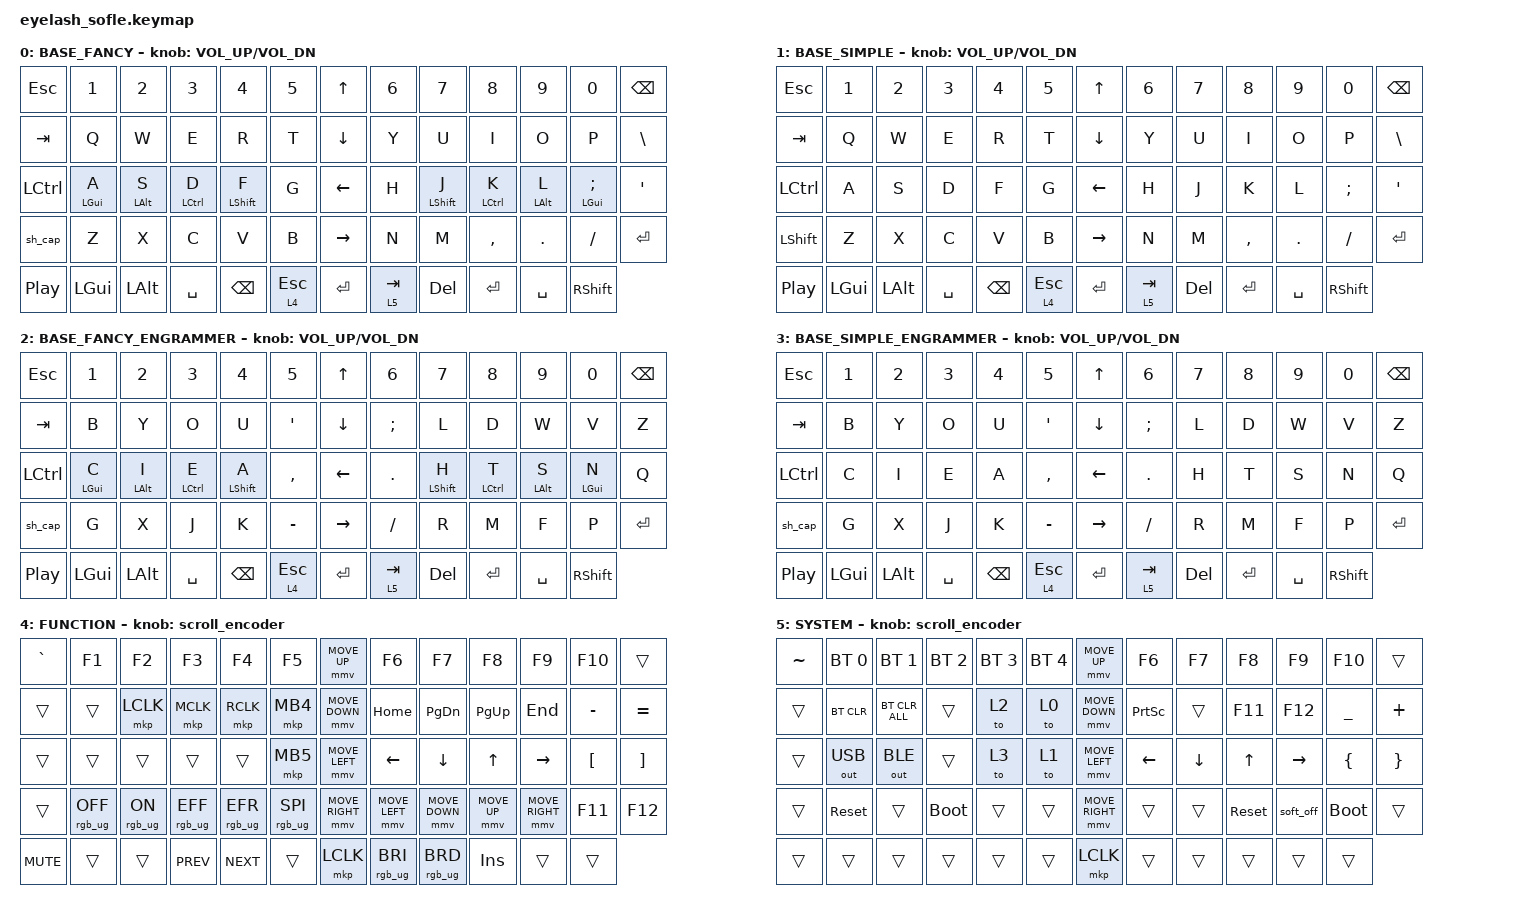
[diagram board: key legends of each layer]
#define ZMK_POINTING_DEFAULT_MOVE_VAL 800  // 600
#define ZMK_POINTING_DEFAULT_SCRL_VAL 20    // 10

#include <input/processors.dtsi>
#include <behaviors.dtsi>
#include <dt-bindings/zmk/bt.h>
#include <dt-bindings/zmk/keys.h>
#include <dt-bindings/zmk/outputs.h>
#include <dt-bindings/zmk/pointing.h>
#include <dt-bindings/zmk/ext_power.h>
#include <dt-bindings/zmk/rgb.h>
#include <zephyr/dt-bindings/input/input-event-codes.h>

/ {
  zip_scroll_scaler: zip_scroll_scaler {
    compatible = "zmk,input-processor-scaler";
    #input-processor-cells = <2>;
    type = <INPUT_EV_REL>;
    codes = <INPUT_REL_WHEEL INPUT_REL_HWHEEL>;
    track-remainders;
  };
};

&mmv_input_listener {
       input-processors = <&zip_xy_scaler 2 1>;
};

&msc_input_listener {
       input-processors = <&zip_scroll_scaler 2 1>;
};

&msc {
    acceleration-exponent = <0>;      // 0
    time-to-max-speed-ms = <300>;       // 300
    delay-ms = <0>;                   // 0
};

&mmv {
    time-to-max-speed-ms = <1500>;
    acceleration-exponent = <1>;
    trigger-period-ms = <16>;
};


/ {
    combos {
        compatible = "zmk,combos";
        combo_left_square {
            timeout-ms = <17>;
            key-positions = <16 17>;
            bindings = <&kp LEFT_BRACKET>;
            layers = <0 2>;
            require-prior-idle-ms = <20>;
        };
        combo_right_square {
            timeout-ms = <17>;
            key-positions = <21 22>;
            bindings = <&kp RIGHT_BRACKET>;
            layers = <0 2>;
            require-prior-idle-ms = <20>;
        };

        combo_left_squirly {
            timeout-ms = <17>;
            key-positions = <42 43>;
            bindings = <&kp LEFT_BRACE>;
            layers = <0 2>;
            require-prior-idle-ms = <20>;
        };
        combo_right_squirly {
            timeout-ms = <17>;
            key-positions = <47 48>;
            bindings = <&kp RIGHT_BRACE>;
            layers = <0 2>;
            require-prior-idle-ms = <20>;
        };

        combo_equals {
            timeout-ms = <17>;
            key-positions = <15 16>;
            bindings = <&kp EQUAL>;
            layers = <0 2>;
            require-prior-idle-ms = <20>;
        };
        combo_minus {
            timeout-ms = <17>;
            key-positions = <22 23>;
            bindings = <&kp MINUS>;
            layers = <0 2>;
            require-prior-idle-ms = <20>;
        };

        combo_plus {
            timeout-ms = <17>;
            key-positions = <41 42>;
            bindings = <&kp PLUS>;
            layers = <0 2>;
            require-prior-idle-ms = <20>;
        };
        combo_underscore {
            timeout-ms = <17>;
            key-positions = <48 49>;
            bindings = <&kp UNDERSCORE>;
            layers = <0 2>;
            require-prior-idle-ms = <20>;
        };
    };

    behaviors {
        scroll_encoder: scroll_encoder {
            compatible = "zmk,behavior-sensor-rotate";
            #sensor-binding-cells = <0>;
            bindings = <&msc SCRL_DOWN>, <&msc SCRL_UP>;
            tap-ms = <20>;
        };

        sh_cap: shit_caps_tap_dance {
            compatible = "zmk,behavior-tap-dance";
            #binding-cells = <0>;
            tapping-term-ms = <300>;
            bindings = <&kp LSHIFT>, <&kp CAPS>;
        };

        mt: mod_tap {
            compatible = "zmk,behavior-hold-tap";
            #binding-cells = <2>;
            flavor = "tap-preferred";
            tapping-term-ms = <180>;
            bindings = <&kp>, <&kp>;
            display-name = "Mod-Tap";
            quick-tap-ms = <180>;
            require-prior-idle-ms = <125>;
        };

        lt: layer_tap {
            compatible = "zmk,behavior-hold-tap";
            #binding-cells = <2>;
            flavor = "hold-preferred";
            tapping-term-ms = <180>;
            bindings = <&mo>, <&kp>;
            display-name = "Layer-Tap";
            quick-tap-ms = <180>;
            require-prior-idle-ms = <125>;
        };
    };

    keymap {
        compatible = "zmk,keymap";

        base_fancy {
            bindings = <
&kp ESC           &kp N1        &kp N2        &kp N3         &kp N4           &kp N5      &kp UP_ARROW     &kp N6     &kp N7         &kp N8       &kp N9       &kp N0         &kp BACKSPACE
&kp TAB           &kp Q         &kp W         &kp E          &kp R            &kp T       &kp DOWN_ARROW   &kp Y      &kp U          &kp I        &kp O        &kp P          &kp BSLH
&kp LCTRL         &mt LGUI A    &mt LALT S    &mt LCTRL D    &mt LSHIFT F     &kp G       &kp LEFT_ARROW   &kp H      &mt LSHIFT J   &mt LCTRL K  &mt LALT L   &mt LGUI SEMI  &kp APOS
&sh_cap           &kp Z         &kp X         &kp C          &kp V            &kp B       &kp RIGHT_ARROW  &kp N      &kp M          &kp COMMA    &kp DOT      &kp FSLH       &kp ENTER
&kp C_PLAY_PAUSE  &kp LEFT_GUI  &kp LEFT_ALT  &kp SPACE      &kp BACKSPACE    &lt 4 ESC   &kp ENTER        &lt 5 TAB  &kp DELETE     &kp ENTER    &kp SPACE    &kp RSHIFT
            >;

            sensor-bindings = <&inc_dec_kp C_VOLUME_UP C_VOL_DN>;
            display-name = "BASE_FANCY";
        };

        base_simple {
            bindings = <
&kp ESC           &kp N1        &kp N2        &kp N3         &kp N4           &kp N5      &kp UP_ARROW     &kp N6     &kp N7         &kp N8      &kp N9        &kp N0      &kp BACKSPACE
&kp TAB           &kp Q         &kp W         &kp E          &kp R            &kp T       &kp DOWN_ARROW   &kp Y      &kp U          &kp I       &kp O         &kp P       &kp BSLH
&kp LCTRL         &kp A         &kp S         &kp D          &kp F            &kp G       &kp LEFT_ARROW   &kp H      &kp J          &kp K       &kp L         &kp SEMI    &kp APOS
&kp LSHIFT        &kp Z         &kp X         &kp C          &kp V            &kp B       &kp RIGHT_ARROW  &kp N      &kp M          &kp COMMA   &kp DOT       &kp FSLH    &kp ENTER
&kp C_PLAY_PAUSE  &kp LEFT_GUI  &kp LEFT_ALT  &kp SPACE      &kp BACKSPACE    &lt 4 ESC   &kp ENTER        &lt 5 TAB  &kp DELETE     &kp ENTER    &kp SPACE    &kp RSHIFT
            >;

            sensor-bindings = <&inc_dec_kp C_VOLUME_UP C_VOL_DN>;
            display-name = "BASE_SIMPLE";
        };

        engrammer_fancy {
            bindings = <
&kp ESC           &kp N1        &kp N2        &kp N3         &kp N4           &kp N5      &kp UP_ARROW     &kp N6         &kp N7         &kp N8       &kp N9       &kp N0         &kp BACKSPACE
&kp TAB           &kp B         &kp Y         &kp O          &kp U            &kp APOS    &kp DOWN_ARROW   &kp SEMICOLON  &kp L          &kp D        &kp W        &kp V          &kp Z
&kp LCTRL         &mt LGUI C    &mt LALT I    &mt LCTRL E    &mt LSHIFT A     &kp COMMA   &kp LEFT_ARROW   &kp PERIOD     &mt LSHIFT H   &mt LCTRL T  &mt LALT S   &mt LGUI N     &kp Q
&sh_cap           &kp G         &kp X         &kp J          &kp K            &kp MINUS   &kp RIGHT_ARROW  &kp FSLH       &kp R          &kp M        &kp F        &kp P          &kp ENTER
&kp C_PLAY_PAUSE  &kp LEFT_GUI  &kp LEFT_ALT  &kp SPACE      &kp BACKSPACE    &lt 4 ESC   &kp ENTER        &lt 5 TAB      &kp DELETE     &kp ENTER    &kp SPACE    &kp RSHIFT
            >;

            sensor-bindings = <&inc_dec_kp C_VOLUME_UP C_VOL_DN>;
            display-name = "BASE_FANCY_ENGRAMMER";
        };

        engrammer_simple {
            bindings = <
&kp ESC           &kp N1        &kp N2        &kp N3         &kp N4           &kp N5      &kp UP_ARROW     &kp N6         &kp N7         &kp N8       &kp N9       &kp N0         &kp BACKSPACE
&kp TAB           &kp B         &kp Y         &kp O          &kp U            &kp APOS    &kp DOWN_ARROW   &kp SEMICOLON  &kp L          &kp D        &kp W        &kp V          &kp Z
&kp LCTRL         &kp C         &kp I         &kp E          &kp A            &kp COMMA   &kp LEFT_ARROW   &kp PERIOD     &kp H          &kp T        &kp S        &kp N          &kp Q
&sh_cap           &kp G         &kp X         &kp J          &kp K            &kp MINUS   &kp RIGHT_ARROW  &kp FSLH       &kp R          &kp M        &kp F        &kp P          &kp ENTER
&kp C_PLAY_PAUSE  &kp LEFT_GUI  &kp LEFT_ALT  &kp SPACE      &kp BACKSPACE    &lt 4 ESC   &kp ENTER        &lt 5 TAB      &kp DELETE     &kp ENTER    &kp SPACE    &kp RSHIFT
            >;

            sensor-bindings = <&inc_dec_kp C_VOLUME_UP C_VOL_DN>;
            display-name = "BASE_SIMPLE_ENGRAMMER";
        };

        function {
            bindings = <
&kp GRAVE   &kp F1           &kp F2          &kp F3           &kp F4           &kp F5             &mmv MOVE_UP     &kp F6           &kp F7           &kp F8        &kp F9            &kp F10           &trans
&trans      &trans           &mkp LCLK       &mkp MCLK        &mkp RCLK        &mkp MB4           &mmv MOVE_DOWN   &kp HOME         &kp PAGE_DOWN    &kp PAGE_UP   &kp END           &kp MINUS         &kp EQUAL
&trans      &trans           &trans          &trans           &trans           &mkp MB5           &mmv MOVE_LEFT   &kp LEFT         &kp DOWN         &kp UP        &kp RIGHT         &kp LEFT_BRACKET  &kp RIGHT_BRACKET
&trans      &rgb_ug RGB_OFF  &rgb_ug RGB_ON  &rgb_ug RGB_EFF  &rgb_ug RGB_EFR  &rgb_ug RGB_SPI    &mmv MOVE_RIGHT  &mmv MOVE_LEFT   &mmv MOVE_DOWN   &mmv MOVE_UP  &mmv MOVE_RIGHT   &kp F11    &kp F12
&kp C_MUTE  &trans           &trans          &kp C_PREV       &kp C_NEXT       &trans             &mkp LCLK        &rgb_ug RGB_BRI  &rgb_ug RGB_BRD  &kp INSERT    &trans            &trans
            >;

            display-name = "FUNCTION";
            sensor-bindings = <&scroll_encoder>;
        };

        system {
            bindings = <
&kp TILDE  &bt BT_SEL 0  &bt BT_SEL 1    &bt BT_SEL 2  &bt BT_SEL 3  &bt BT_SEL 4    &mmv MOVE_UP     &kp F6           &kp F7     &kp F8      &kp F9      &kp F10      &trans
&trans     &bt BT_CLR    &bt BT_CLR_ALL  &trans        &to 2         &to 0           &mmv MOVE_DOWN   &kp PRINTSCREEN  &trans     &kp F11     &kp F12     &kp UNDER    &kp PLUS
&trans     &out OUT_USB  &out OUT_BLE    &trans        &to 3         &to 1           &mmv MOVE_LEFT   &kp LEFT         &kp DOWN   &kp UP      &kp RIGHT   &kp LBRC     &kp RBRC
&trans     &sys_reset    &trans          &bootloader   &trans        &trans          &mmv MOVE_RIGHT  &trans           &trans     &sys_reset  &soft_off   &bootloader  &trans
&trans     &trans        &trans          &trans        &trans        &trans          &mkp LCLK        &trans           &trans     &trans      &trans      &trans
            >;

            display-name = "SYSTEM";
            sensor-bindings = <&scroll_encoder>;
        };

        extra1 {
            status = "reserved";
        };

        extra2 {
            status = "reserved";
        };

        extra3 {
            status = "reserved";
        };
    };
};
